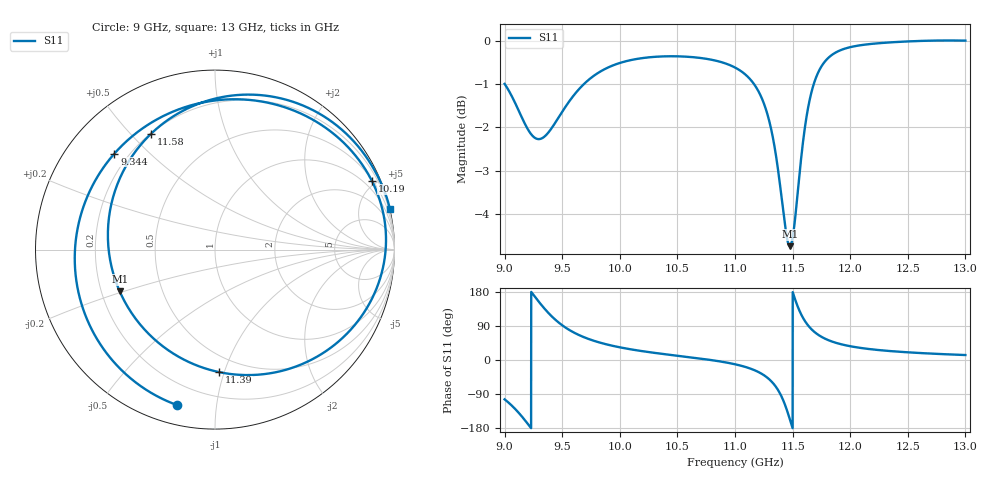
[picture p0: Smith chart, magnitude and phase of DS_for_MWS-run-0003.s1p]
! TOUCHSTONE file generated by CST DESIGN STUDIO
! Date and time: Tue Feb  4 16:42:33 2025
! Project name: C:\Work\MatlabApps\UnitCellOptimizationMatlab\CST\unitcell.cst
! Tree item: Tasks\Sweep1\SPara1\S-Parameters
! Header version: 2024
! Port assignment regex: !\s*Touchstone port\s*([0-9]+)\s*=\s*(CST MWS port|CST DES external port|CST DES block port)\s*(.+)\s* \(\"(.*)\"\)(\s*mode\s*([0-9]+))?.*
! Touchstone port assignment:
! Touchstone port 1 = CST DES external port 1 ("")
# GHz S MA R 50
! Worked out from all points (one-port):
!   4001 points, 9 GHz to 13 GHz, reference 50 ohm
!   lowest |S11| = -4.7 dB at 11.48 GHz (marker M1), VSWR 3.76, Z = 13.8 - j9.71 ohm
!   |S11| at or under -10 dB: nowhere
!   S11 on the Smith chart (normalised r, x): 9 GHz: 0.09, -0.78; 9.344 GHz: 0.15, +0.39; 10.19 GHz: 0.55, +4.70; 11.39 GHz: 0.38, -0.96; 11.58 GHz: 0.20, +0.57; 13 GHz: 0.01, +8.71
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9  0.8914 -103.8
9.092  0.8471 -129.3
9.192  0.7945 -164.9
9.263  0.7725 167.0
9.344  0.7747 136.4
9.418  0.7962 112.6
9.5  0.8279 91.7
9.606  0.8666 71.7
9.719  0.8986 56.6
10  0.9422 33.5
10.187  0.9541 23.7
10.5  0.959 11.2
11  0.931 -11.2
11.141  0.8994 -23.5
11.242  0.8522 -38.3
11.32  0.7836 -57.7
11.39  0.6833 -88.0
11.433  0.6139 -117.3
11.476  0.5797 -156.3
11.5  0.5925 -179.9
11.535  0.6488 148.5
11.577  0.7375 118.8
11.646  0.8518 87.0
11.75  0.9335 61.3
11.856  0.9656 47.3
12  0.9826 36.4
12.5  0.9976 20.3
13  0.9997 13.1
